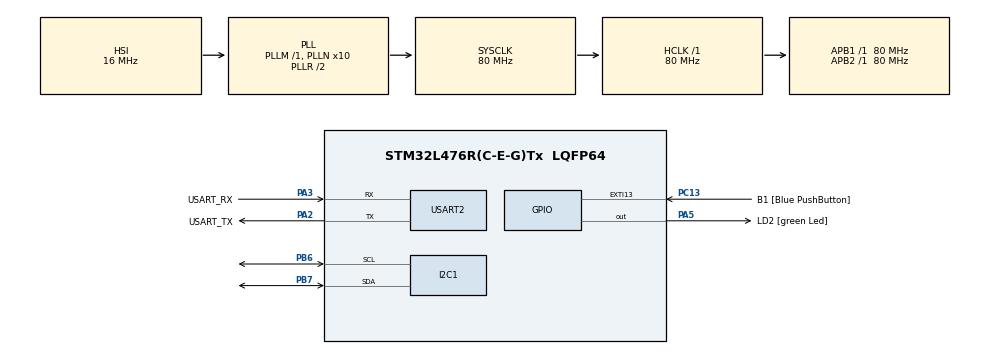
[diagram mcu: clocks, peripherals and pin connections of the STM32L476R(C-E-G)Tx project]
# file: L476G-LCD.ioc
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I2C1.Timing=0x10909CEC
Mcu.Family=STM32L4
Mcu.Name=STM32L476R(C-E-G)Tx
Mcu.Package=LQFP64
NVIC.PriorityGroup=NVIC_PRIORITYGROUP_4
PA13\ (JTMS-SWDIO).GPIO_Label=TMS
PA13\ (JTMS-SWDIO).Mode=Serial_Wire
PA13\ (JTMS-SWDIO).Signal=SYS_JTMS-SWDIO
PA14\ (JTCK-SWCLK).GPIO_Label=TCK
PA14\ (JTCK-SWCLK).Mode=Serial_Wire
PA14\ (JTCK-SWCLK).Signal=SYS_JTCK-SWCLK
PA2.GPIO_Label=USART_TX
PA2.GPIO_Mode=GPIO_MODE_AF_PP
PA2.GPIO_PuPd=GPIO_NOPULL
PA2.GPIO_Speed=GPIO_SPEED_FREQ_VERY_HIGH
PA2.Mode=Asynchronous
PA2.Signal=USART2_TX
PA3.GPIO_Label=USART_RX
PA3.GPIO_Mode=GPIO_MODE_AF_PP
PA3.GPIO_PuPd=GPIO_NOPULL
PA3.GPIO_Speed=GPIO_SPEED_FREQ_VERY_HIGH
PA3.Mode=Asynchronous
PA3.Signal=USART2_RX
PA5.GPIO_Label=LD2 [green Led]
PA5.GPIO_ModeDefaultOutputPP=GPIO_MODE_OUTPUT_PP
PA5.GPIO_PuPd=GPIO_NOPULL
PA5.GPIO_Speed=GPIO_SPEED_FREQ_LOW
PA5.Signal=GPIO_Output
PB6.Mode=I2C
PB6.Signal=I2C1_SCL
PB7.Mode=I2C
PB7.Signal=I2C1_SDA
PC13.GPIO_Label=B1 [Blue PushButton]
PC13.GPIO_ModeDefaultEXTI=GPIO_MODE_IT_FALLING
PC13.GPIO_PuPd=GPIO_NOPULL
PC13.Signal=GPXTI13
PC14-OSC32_IN\ (PC14).Mode=LSE-External-Oscillator
PC14-OSC32_IN\ (PC14).Signal=RCC_OSC32_IN
PC15-OSC32_OUT\ (PC15).Mode=LSE-External-Oscillator
PC15-OSC32_OUT\ (PC15).Signal=RCC_OSC32_OUT
ProjectManager.HeapSize=0x200
ProjectManager.StackSize=0x400
ProjectManager.TargetToolchain=STM32CubeIDE
RCC.ADCFreq_Value=64000000
RCC.AHBFreq_Value=80000000
RCC.APB1Freq_Value=80000000
RCC.APB1TimFreq_Value=80000000
RCC.APB2Freq_Value=80000000
RCC.APB2TimFreq_Value=80000000
RCC.CortexFreq_Value=80000000
RCC.HCLKFreq_Value=80000000
RCC.HSE_VALUE=8000000
RCC.HSI_VALUE=16000000
RCC.MSI_VALUE=4000000
RCC.PLLN=10
RCC.PLLSourceVirtual=RCC_PLLSOURCE_HSI
RCC.PREFETCH_ENABLE=1
RCC.SYSCLKFreq_VALUE=80000000
RCC.SYSCLKSource=RCC_SYSCLKSOURCE_PLLCLK
RCC.USBFreq_Value=64000000
RCC.VCOOutputFreq_Value=160000000
USART2.VirtualMode-Asynchronous=VM_ASYNC
board=NUCLEO-L476RG

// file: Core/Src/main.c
/* USER CODE BEGIN Header */
/**
  ******************************************************************************
  * @file           : main.c
  * @brief          : Main program body
  ******************************************************************************
  * @attention
  *
  * <h2><center>&copy; Copyright (c) 2022 STMicroelectronics.
  * All rights reserved.</center></h2>
  *
  * This software component is licensed by ST under BSD 3-Clause license,
  * the "License"; You may not use this file except in compliance with the
  * License. You may obtain a copy of the License at:
  *                        opensource.org/licenses/BSD-3-Clause
  *
  ******************************************************************************
  */
/* USER CODE END Header */
#include "main.h"

/* USER CODE BEGIN Includes */
#include "stdio.h"
/* USER CODE END Includes */

/* USER CODE BEGIN PTD */
#ifdef __GNUC__
/* With GCC/RAISONANCE, small printf (option LD Linker->Libraries->Small printf
   set to 'Yes') calls __io_putchar() */
#define PUTCHAR_PROTOTYPE int __io_putchar(int ch)
#else
#define PUTCHAR_PROTOTYPE int fputc(int ch, FILE *f)
#endif /* __GNUC__ */

#define LCD_ADDRESS	0x04E
/* USER CODE END PTD */

I2C_HandleTypeDef hi2c1;

UART_HandleTypeDef huart2;

void SystemClock_Config(void);
static void MX_GPIO_Init(void);
static void MX_I2C1_Init(void);
static void MX_USART2_UART_Init(void);
/* USER CODE BEGIN PFP */
void lcd_send_string (char *str);
void lcd_Init();
void lcd_clear();
void lcd_send_data(char data);
void lcd_send_cmd(char cmd);
void lcd_put_cur(uint8_t row,uint8_t col);
/* USER CODE END PFP */

int main(void)
{

  /* MCU Configuration--------------------------------------------------------*/

  /* Reset of all peripherals, Initializes the Flash interface and the Systick. */
  HAL_Init();

  /* Configure the system clock */
  SystemClock_Config();

  /* Initialize all configured peripherals */
  MX_GPIO_Init();
  MX_I2C1_Init();
  MX_USART2_UART_Init();
  /* USER CODE BEGIN 2 */

  printf("I2C LCD \r\n");

  HAL_Delay(30);
  lcd_Init();

  /* USER CODE END 2 */

  /* Infinite loop */
  while (1)
  {
	  lcd_put_cur(0,2);
	  lcd_send_string("Hello World!");
	  lcd_put_cur(1,1);
	  lcd_send_string("www.makdev.net");
	  HAL_Delay(1000);
	  lcd_clear();
	  HAL_Delay(1000);
  }
}

PUTCHAR_PROTOTYPE
{
  /* Place your implementation of fputc here */
  /* e.g. write a character to the USART2 and Loop until the end of transmission */
  HAL_UART_Transmit(&huart2, (uint8_t *)&ch, 1, 0xFFFF);

  return ch;
}

void lcd_send_cmd(char cmd)
{
	char data_h,data_l;
	uint8_t frame_data[4];
	data_h = (cmd&0xf0);
	data_l = ((cmd <<4)&0xf0);
	frame_data[0] = data_h | 0x0C;
	frame_data[1] = data_h | 0x08;
	frame_data[2] = data_l | 0x0C;
	frame_data[3] = data_l | 0x08;

	HAL_I2C_Master_Transmit(&hi2c1,LCD_ADDRESS,(uint8_t *)frame_data,4,0x100);

	//HAL_Delay(1);
}

void lcd_send_data(char data)
{
	char data_h,data_l;
	uint8_t frame_data[4];
	data_h = (data&0xf0);
	data_l = ((data <<4)&0xf0);
	frame_data[0] = data_h | 0x0D;
	frame_data[1] = data_h | 0x09;
	frame_data[2] = data_l | 0x0D;
	frame_data[3] = data_l | 0x09;

	HAL_I2C_Master_Transmit(&hi2c1,LCD_ADDRESS,(uint8_t *)frame_data,4,0x100);

	//HAL_Delay(1);
}

void lcd_clear()
{
	lcd_send_cmd(0x01);
	HAL_Delay(1);
}

void lcd_Init()
{
	HAL_Delay(50);
	lcd_send_cmd(0x30);
	HAL_Delay(5);
	lcd_send_cmd(0x30);
	HAL_Delay(1);
	lcd_send_cmd(0x30);
	HAL_Delay(10);
	lcd_send_cmd(0x20);
	HAL_Delay(10);

	lcd_send_cmd(0x28);		//function set
	HAL_Delay(1);
	lcd_send_cmd(0x08);		//Display on/off
	HAL_Delay(1);
	lcd_send_cmd(0x01);		//clear display
	HAL_Delay(1);
	lcd_send_cmd(0x06);		//Enter mode
	HAL_Delay(1);
	lcd_send_cmd(0x0C);		//Display on/off
	HAL_Delay(1);

}

void lcd_send_string (char *str)
{
	while(*str)
	{
		lcd_send_data(*str++);
	}
	HAL_Delay(1);
}

void lcd_put_cur(uint8_t row,uint8_t col)
{
	lcd_send_cmd(0x80 | (col + (0x40 * row)));
}

void SystemClock_Config(void)
{
  RCC_OscInitTypeDef RCC_OscInitStruct = {0};
  RCC_ClkInitTypeDef RCC_ClkInitStruct = {0};

  /** Configure the main internal regulator output voltage
  */
  if (HAL_PWREx_ControlVoltageScaling(PWR_REGULATOR_VOLTAGE_SCALE1) != HAL_OK)
  {
    Error_Handler();
  }
  /** Initializes the RCC Oscillators according to the specified parameters
  * in the RCC_OscInitTypeDef structure.
  */
  RCC_OscInitStruct.OscillatorType = RCC_OSCILLATORTYPE_HSI;
  RCC_OscInitStruct.HSIState = RCC_HSI_ON;
  RCC_OscInitStruct.HSICalibrationValue = RCC_HSICALIBRATION_DEFAULT;
  RCC_OscInitStruct.PLL.PLLState = RCC_PLL_ON;
  RCC_OscInitStruct.PLL.PLLSource = RCC_PLLSOURCE_HSI;
  RCC_OscInitStruct.PLL.PLLM = 1;
  RCC_OscInitStruct.PLL.PLLN = 10;
  RCC_OscInitStruct.PLL.PLLP = RCC_PLLP_DIV7;
  RCC_OscInitStruct.PLL.PLLQ = RCC_PLLQ_DIV2;
  RCC_OscInitStruct.PLL.PLLR = RCC_PLLR_DIV2;
  if (HAL_RCC_OscConfig(&RCC_OscInitStruct) != HAL_OK)
  {
    Error_Handler();
  }
  /** Initializes the CPU, AHB and APB buses clocks
  */
  RCC_ClkInitStruct.ClockType = RCC_CLOCKTYPE_HCLK|RCC_CLOCKTYPE_SYSCLK
                              |RCC_CLOCKTYPE_PCLK1|RCC_CLOCKTYPE_PCLK2;
  RCC_ClkInitStruct.SYSCLKSource = RCC_SYSCLKSOURCE_PLLCLK;
  RCC_ClkInitStruct.AHBCLKDivider = RCC_SYSCLK_DIV1;
  RCC_ClkInitStruct.APB1CLKDivider = RCC_HCLK_DIV1;
  RCC_ClkInitStruct.APB2CLKDivider = RCC_HCLK_DIV1;

  if (HAL_RCC_ClockConfig(&RCC_ClkInitStruct, FLASH_LATENCY_4) != HAL_OK)
  {
    Error_Handler();
  }
}

static void MX_I2C1_Init(void)
{

  hi2c1.Instance = I2C1;
  hi2c1.Init.Timing = 0x10909CEC;
  hi2c1.Init.OwnAddress1 = 0;
  hi2c1.Init.AddressingMode = I2C_ADDRESSINGMODE_7BIT;
  hi2c1.Init.DualAddressMode = I2C_DUALADDRESS_DISABLE;
  hi2c1.Init.OwnAddress2 = 0;
  hi2c1.Init.OwnAddress2Masks = I2C_OA2_NOMASK;
  hi2c1.Init.GeneralCallMode = I2C_GENERALCALL_DISABLE;
  hi2c1.Init.NoStretchMode = I2C_NOSTRETCH_DISABLE;
  if (HAL_I2C_Init(&hi2c1) != HAL_OK)
  {
    Error_Handler();
  }
  /** Configure Analogue filter
  */
  if (HAL_I2CEx_ConfigAnalogFilter(&hi2c1, I2C_ANALOGFILTER_ENABLE) != HAL_OK)
  {
    Error_Handler();
  }
  /** Configure Digital filter
  */
  if (HAL_I2CEx_ConfigDigitalFilter(&hi2c1, 0) != HAL_OK)
  {
    Error_Handler();
  }

}

static void MX_USART2_UART_Init(void)
{

  huart2.Instance = USART2;
  huart2.Init.BaudRate = 9600;
  huart2.Init.WordLength = UART_WORDLENGTH_8B;
  huart2.Init.StopBits = UART_STOPBITS_1;
  huart2.Init.Parity = UART_PARITY_NONE;
  huart2.Init.Mode = UART_MODE_TX_RX;
  huart2.Init.HwFlowCtl = UART_HWCONTROL_NONE;
  huart2.Init.OverSampling = UART_OVERSAMPLING_16;
  huart2.Init.OneBitSampling = UART_ONE_BIT_SAMPLE_DISABLE;
  huart2.AdvancedInit.AdvFeatureInit = UART_ADVFEATURE_NO_INIT;
  if (HAL_UART_Init(&huart2) != HAL_OK)
  {
    Error_Handler();
  }

}

static void MX_GPIO_Init(void)
{
  GPIO_InitTypeDef GPIO_InitStruct = {0};

  /* GPIO Ports Clock Enable */
  __HAL_RCC_GPIOC_CLK_ENABLE();
  __HAL_RCC_GPIOA_CLK_ENABLE();
  __HAL_RCC_GPIOB_CLK_ENABLE();

  /*Configure GPIO pin Output Level */
  HAL_GPIO_WritePin(LD2_GPIO_Port, LD2_Pin, GPIO_PIN_RESET);

  /*Configure GPIO pin : B1_Pin */
  GPIO_InitStruct.Pin = B1_Pin;
  GPIO_InitStruct.Mode = GPIO_MODE_IT_FALLING;
  GPIO_InitStruct.Pull = GPIO_NOPULL;
  HAL_GPIO_Init(B1_GPIO_Port, &GPIO_InitStruct);

  /*Configure GPIO pin : LD2_Pin */
  GPIO_InitStruct.Pin = LD2_Pin;
  GPIO_InitStruct.Mode = GPIO_MODE_OUTPUT_PP;
  GPIO_InitStruct.Pull = GPIO_NOPULL;
  GPIO_InitStruct.Speed = GPIO_SPEED_FREQ_LOW;
  HAL_GPIO_Init(LD2_GPIO_Port, &GPIO_InitStruct);

}

void Error_Handler(void)
{
  __disable_irq();
  while (1)
  {
  }
}

/************************ (C) COPYRIGHT STMicroelectronics *****END OF FILE****/
